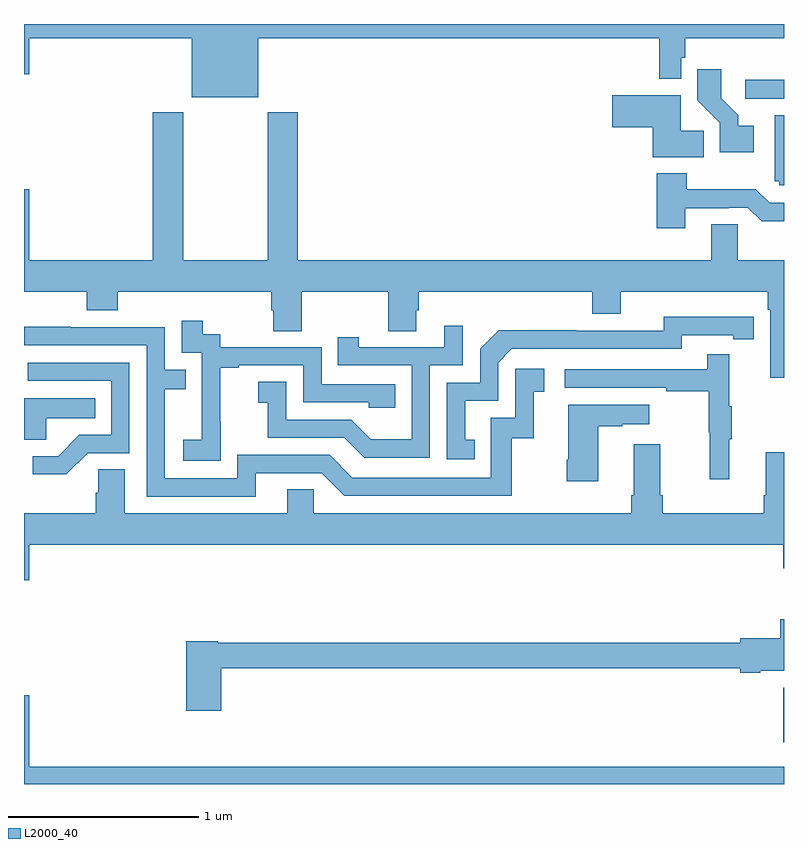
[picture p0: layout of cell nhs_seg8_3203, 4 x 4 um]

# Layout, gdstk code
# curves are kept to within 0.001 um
import gdstk
lib = gdstk.Library(unit=1e-6, precision=1e-09)
def R(c, l, rs):  # rectangles x0, y0, x1, y1
    for r in rs: c.add(gdstk.rectangle(r[:2], r[2:], *l))
def P(c, l, *ps):  # polygons
    for p in ps: c.add(gdstk.Polygon(p, *l))
L2000_40 = (2000, 40)

nhs_seg8_3203 = lib.new_cell('nhs_seg8_3203')
R(nhs_seg8_3203, L2000_40, [(312.995,1122.12,313,1122.406), (312.795,1125.507,313,1125.606)])
P(nhs_seg8_3203, L2000_40, [(310.234,1125.824),(312.343,1125.824),(312.343,1125.611),(312.459,1125.611),(312.459,1125.723),(312.479,1125.723),(312.479,1125.824),(313,1125.824),(313,1125.9),(309,1125.9),(309,1125.636),(309.028,1125.636),(309.028,1125.824),(309.884,1125.824),(309.884,1125.515),(310.234,1125.515)],
  [(312.841,1125.364),(312.76,1125.364),(312.76,1125.419),(312.67,1125.509),(312.67,1125.661),(312.544,1125.661),(312.544,1125.498),(312.663,1125.379),(312.663,1125.224),(312.841,1125.224)],
  [(312.578,1125.338),(312.457,1125.338),(312.457,1125.526),(312.096,1125.526),(312.096,1125.356),(312.308,1125.356),(312.308,1125.2),(312.578,1125.2)],
  [(313,1124.656),(312.756,1124.656),(312.756,1124.846),(312.617,1124.846),(312.617,1124.656),(310.442,1124.656),(310.442,1125.436),(310.282,1125.436),(310.282,1124.656),(309.837,1124.656),(309.837,1125.436),(309.677,1125.436),(309.677,1124.656),(309.028,1124.656),(309.028,1125.031),(309,1125.031),(309,1124.492),(309.329,1124.492),(309.329,1124.393),(309.494,1124.393),(309.494,1124.492),(310.301,1124.492),(310.301,1124.394),(310.313,1124.394),(310.313,1124.284),(310.461,1124.284),(310.461,1124.492),(310.918,1124.492),(310.918,1124.284),(311.065,1124.284),(311.065,1124.394),(311.078,1124.394),(311.078,1124.492),(311.99,1124.492),(311.99,1124.375),(312.142,1124.375),(312.142,1124.492),(312.914,1124.492),(312.914,1124.396),(312.927,1124.396),(312.927,1124.037),(313,1124.037)],
  [(313,1125.421),(312.95,1125.421),(312.95,1125.072),(312.975,1125.072),(312.975,1125.051),(313,1125.051)],
  [(312.481,1124.931),(312.71,1124.931),(312.71,1124.934),(312.81,1124.934),(312.883,1124.861),(313,1124.861),(313,1124.958),(312.924,1124.958),(312.851,1125.031),(312.489,1125.031),(312.489,1125.115),(312.329,1125.115),(312.329,1124.826),(312.481,1124.826)],
  [(311.372,1123.713),(311.323,1123.713),(311.323,1123.917),(311.496,1123.917),(311.496,1124.118),(311.568,1124.19),(312.462,1124.19),(312.462,1124.262),(312.734,1124.262),(312.734,1124.242),(312.842,1124.242),(312.842,1124.358),(312.366,1124.359),(312.366,1124.286),(311.906,1124.286),(311.906,1124.288),(311.498,1124.288),(311.4,1124.19),(311.4,1124.013),(311.226,1124.013),(311.226,1123.608),(311.372,1123.608)],
  [(310.035,1123.807),(310.034,1123.807),(310.034,1124.091),(310.129,1124.091),(310.129,1124.103),(310.47,1124.103),(310.47,1123.908),(310.815,1123.908),(310.815,1123.881),(310.955,1123.881),(310.955,1124.004),(310.566,1124.004),(310.566,1124.199),(310.032,1124.199),(310.032,1124.268),(309.94,1124.268),(309.94,1124.338),(309.831,1124.338),(309.831,1124.169),(309.936,1124.169),(309.936,1123.94),(309.935,1123.94),(309.935,1123.711),(309.837,1123.711),(309.837,1123.601),(310.035,1123.601)],
  [(311.136,1124.103),(311.31,1124.103),(311.31,1124.311),(311.213,1124.311),(311.213,1124.199),(310.762,1124.199),(310.762,1124.251),(310.651,1124.251),(310.651,1124.103),(311.04,1124.103),(311.04,1123.714),(310.826,1123.714),(310.722,1123.818),(310.38,1123.818),(310.38,1124.017),(310.233,1124.017),(310.233,1123.907),(310.282,1123.907),(310.282,1123.722),(310.685,1123.722),(310.79,1123.617),(311.136,1123.617)],
  [(310.219,1123.536),(310.566,1123.536),(310.686,1123.416),(311.566,1123.416),(311.566,1123.719),(311.684,1123.719),(311.684,1123.965),(311.737,1123.965),(311.737,1124.086),(311.586,1124.086),(311.586,1123.827),(311.457,1123.827),(311.457,1123.512),(310.728,1123.512),(310.608,1123.632),(310.122,1123.632),(310.122,1123.509),(309.741,1123.509),(309.741,1123.978),(309.851,1123.978),(309.851,1124.079),(309.741,1124.079),(309.741,1124.304),(309.245,1124.304),(309.245,1124.306),(309,1124.306),(309,1124.208),(309.645,1124.208),(309.645,1123.413),(310.219,1123.413)],
  [(312.713,1123.715),(312.724,1123.715),(312.724,1123.889),(312.713,1123.889),(312.713,1124.161),(312.595,1124.161),(312.595,1124.082),(311.847,1124.082),(311.847,1123.986),(312.379,1123.986),(312.379,1123.966),(312.603,1123.966),(312.603,1123.752),(312.61,1123.752),(312.61,1123.503),(312.713,1123.503)],
  [(309.336,1123.641),(309.555,1123.641),(309.555,1124.118),(309.021,1124.118),(309.021,1124.022),(309.459,1124.022),(309.459,1123.737),(309.29,1123.737),(309.179,1123.626),(309.045,1123.626),(309.045,1123.529),(309.223,1123.529)],
  [(309.117,1123.826),(309.374,1123.826),(309.374,1123.93),(309,1123.93),(309,1123.711),(309.117,1123.711)],
  [(312.022,1123.783),(312.149,1123.783),(312.149,1123.793),(312.292,1123.793),(312.292,1123.897),(311.864,1123.897),(311.864,1123.606),(311.857,1123.606),(311.857,1123.494),(312.022,1123.494)],
  [(312.209,1123.687),(312.209,1123.42),(312.197,1123.42),(312.197,1123.324),(310.524,1123.324),(310.524,1123.451),(310.385,1123.451),(310.385,1123.324),(309.529,1123.324),(309.529,1123.556),(309.39,1123.556),(309.39,1123.433),(309.377,1123.433),(309.377,1123.324),(309,1123.324),(309,1122.972),(309.028,1122.972),(309.028,1123.16),(312.995,1123.16),(312.995,1123.036),(313,1123.036),(313,1123.645),(312.905,1123.645),(312.905,1123.42),(312.893,1123.42),(312.893,1123.324),(312.362,1123.324),(312.362,1123.42),(312.349,1123.42),(312.349,1123.687)],
  [(310.037,1122.508),(312.77,1122.508),(312.77,1122.485),(312.874,1122.485),(312.874,1122.497),(313,1122.497),(313,1122.766),(312.98,1122.766),(312.98,1122.668),(312.77,1122.668),(312.77,1122.644),(310.02,1122.644),(310.02,1122.652),(309.854,1122.652),(309.854,1122.285),(310.037,1122.285)],
  [(313,1121.992),(309.028,1121.992),(309.028,1122.367),(309,1122.367),(309,1121.9),(313,1121.9)])

lib.write_gds('nhs_seg8_3203.gds')
